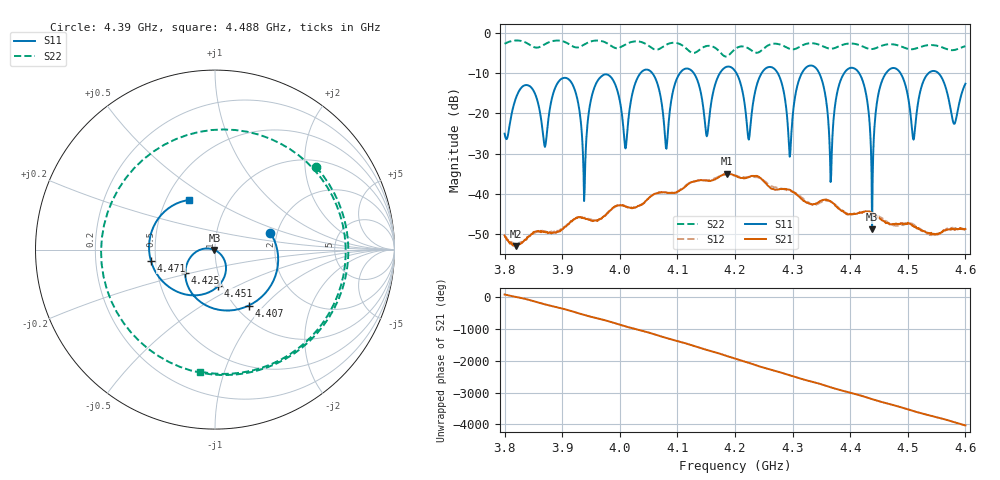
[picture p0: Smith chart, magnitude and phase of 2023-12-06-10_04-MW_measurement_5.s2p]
!Created with skrf (http://scikit-rf.org).
# Hz S RI R 50.0
!freq ReS11 ImS11 ReS21 ImS21 ReS12 ImS12 ReS22 ImS22
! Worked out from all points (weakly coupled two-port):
!   801 points, 3.8 GHz to 4.6 GHz, reference 50 ohm
!   highest |S21| = -35.05 dB at 4.186 GHz (marker M1); lowest = -53.1 dB at 3.82 GHz (marker M2)
!   lowest |S11| = -48.9 dB at 4.438 GHz (marker M3), VSWR 1.01, Z = 49.7 - j0.187 ohm
!   |S11| at or under -10 dB: start of sweep to 4.036 GHz; 4.057 GHz to 4.104 GHz (47.62 MHz wide, 1.17 % of centre); 4.487 GHz to 4.536 GHz (48.3 MHz wide, 1.07 % of centre) (the widest 3 of 9)
!   |S22| runs from -5.8 to -1.8 dB; largest |S21 - S12| = 0.002
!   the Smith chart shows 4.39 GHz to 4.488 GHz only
!   S11 on the Smith chart (normalised r, x): 4.39 GHz: 1.83, +0.39; 4.407 GHz: 1.15, -0.82; 4.425 GHz: 0.69, -0.19; 4.451 GHz: 0.96, -0.40; 4.471 GHz: 0.47, -0.07; 4.488 GHz: 0.65, +0.40
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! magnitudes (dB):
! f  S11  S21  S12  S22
! 3.8 GHz  -25.0  -50.4  -50.4  -2.6
! 3.82 GHz  -16.0  -53.1  -52.5  -1.8
! 3.87 GHz  -28.3  -49.6  -49.4  -2.7
! 3.91 GHz  -11.4  -47.7  -47.7  -2.6
! 3.934 GHz  -24.9  -46.1  -45.9  -3.2
! 4.067 GHz  -13.4  -39.8  -39.8  -4.0
! 4.151 GHz  -25.7  -36.8  -36.6  -3.2
! 4.186 GHz  -8.4  -35.1  -35.3  -5.8
! 4.2 GHz  -9.4  -35.5  -35.5  -4.0
! 4.295 GHz  -30.8  -39.1  -39.3  -3.9
! 4.334 GHz  -8.1  -42.7  -42.7  -2.5
! 4.366 GHz  -37.1  -42.0  -41.9  -3.9
! 4.39 GHz  -9.9  -44.7  -44.6  -2.8
! 4.407 GHz  -8.8  -45.0  -45.0  -2.6
! 4.425 GHz  -13.5  -44.5  -44.5  -3.5
! 4.438 GHz  -48.9  -44.9  -44.7  -4.0
! 4.451 GHz  -13.9  -46.2  -45.8  -3.3
! 4.467 GHz  -9.2  -47.4  -47.4  -2.7
! 4.471 GHz  -8.8  -47.7  -47.6  -2.7
! 4.488 GHz  -10.1  -47.4  -48.0  -3.3
! 4.51 GHz  -26.5  -48.0  -47.7  -4.0
! 4.6 GHz  -12.6  -48.8  -48.9  -3.2
